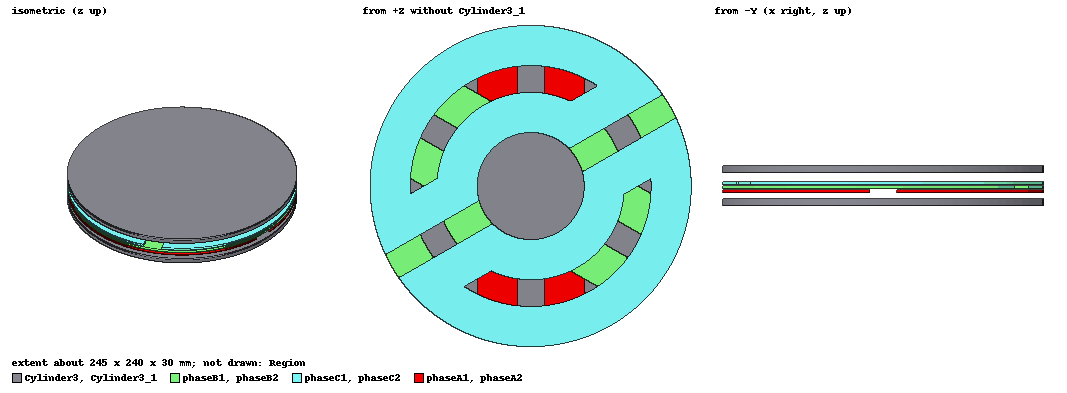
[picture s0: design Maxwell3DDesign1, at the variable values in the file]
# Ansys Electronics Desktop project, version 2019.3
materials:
  vacuum: permittivity=1
  copper: permeability=0.999991 conductivity=58000000
  ferrite: permittivity=12 permeability=1000 conductivity=0.01

design Maxwell3DDesign1 (Maxwell 3D, Transient, model units mm)
options: Multiplier=1
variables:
  r_inner = 40mm
  conductor_height = 2mm
  r_inner_middle = 70mm
  r_outer_middle = 90mm
  r_outer = 120mm
  difference = 10mm
  distance_phase = 3mm
  rotation_angle = 120deg
  magC = -10A
  magA = 20A
  magB = -10A
  A = -10A
  ferrite_distance = -5mm
  ferrite_height = -5mm
  f2f_distance = 25mm
  A1 = 10A*Sin(2*Pi*50*time)
  A2 = -A1
  B1 = 10A*Sin(2*Pi*50*time-2*Pi/3)
  B2 = -B1
  C1 = 10A*Sin(2*Pi*50*time+2*Pi/3)
  C2 = -C1
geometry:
  Cylinder1 = cylinder(axis=Z, base_centre=(0mm, 0mm, 0mm), radius=r_inner, height=conductor_height)
  inner = cylinder(axis=Z, base_centre=(0mm, 0mm, 0mm), radius=r_inner_middle, height=conductor_height)
  inner.subtract(Cylinder1)
  inner.split(plane=YZ, keep=PositiveOnly)
  Cylinder2 = cylinder(axis=Z, base_centre=(0mm, 0mm, 0mm), radius=r_outer_middle, height=conductor_height)
  phaseA1 [copper] = cylinder(axis=Z, base_centre=(0mm, 0mm, 0mm), radius=r_outer, height=conductor_height)
  phaseA1.subtract(Cylinder2)
  phaseA1.split(plane=YZ, keep=PositiveOnly)
  Box1 = box(corner=(difference, -r_outer, 0mm), size=(r_inner_middle-r_inner, 2*r_outer, conductor_height))
  inner_1 = inner.copy()
  outer_1 = phaseA1.copy()
  Box1.subtract(inner_1, outer_1)
  Box1_Separate2, Box1_Separate3 = Box1.separate_bodies()
  Box1.delete()
  Box2 = box(corner=(0mm, -r_outer, 0mm), size=(difference, 2*r_outer, conductor_height))
  Box2_1 = Box2.copy()
  inner.subtract(Box2_1)
  phaseA1.subtract(Box2)
  phaseA1.unite(Box1_Separate2, inner, Box1_Separate3)
  phaseA2 [copper] = phaseA1.duplicate_mirror(point=(0mm, 0mm, 0mm), normal=(-1mm, 0mm, 0mm))
  phaseB1, phaseC1 [copper] = phaseA1.duplicate_along_line(step=(0mm, 0mm, distance_phase), total=3)
  phaseB2, phaseC2 [copper] = phaseA2.duplicate_along_line(step=(0mm, 0mm, distance_phase), total=3)
  coordinate_system RelativeCS1 = origin=(0mm, 0mm, distance_phase) x=(1mm, 0mm, 0mm) y=(0mm, 1mm, 0mm)
  coordinate_system RelativeCS2 = origin=(0mm, 0mm, distance_phase) x=(1mm, 0mm, 0mm) y=(0mm, 1mm, 0mm) in RelativeCS1
  [phaseB2, phaseB1].rotate(axis=Z, angle=-rotation_angle) in RelativeCS1
  [phaseC1, phaseC2].rotate(axis=Z, angle=rotation_angle) in RelativeCS2
  phaseA1_Section1 [copper] = phaseA1.section(plane=ZX)
  phaseA2_Section1 [copper] = phaseA2.section(plane=ZX)
  phaseB2_Section1 [copper] = phaseB2.section(plane=ZX) in RelativeCS1
  phaseB1_Section1 [copper] = phaseB1.section(plane=ZX) in RelativeCS1
  phaseC2_Section1 [copper] = phaseC2.section(plane=ZX) in RelativeCS2
  phaseC1_Section1 [copper] = phaseC1.section(plane=ZX) in RelativeCS2
  Region [vacuum] = region(percentage_offset: +X=200, -X=200, +Y=200, -Y=200, +Z=50, -Z=50) in RelativeCS2
  phaseA1_Section1_Separate1 [copper] = phaseA1_Section1.separate_bodies()
  phaseC1_Section1_Separate1 [copper] = phaseC1_Section1.separate_bodies()
  phaseA2_Section1_Separate1 [copper] = phaseA2_Section1.separate_bodies()
  phaseB2_Section1_Separate1 [copper] = phaseB2_Section1.separate_bodies()
  phaseB1_Section1_Separate1 [copper] = phaseB1_Section1.separate_bodies()
  phaseC2_Section1_Separate1 [copper] = phaseC2_Section1.separate_bodies()
  Cylinder3 [ferrite] = cylinder(axis=Z, base_centre=(0mm, 0mm, ferrite_distance), radius=r_outer, height=ferrite_height)
  Cylinder3_1 [ferrite] = Cylinder3.duplicate_along_line(step=(0mm, 0mm, f2f_distance), total=2)
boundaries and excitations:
  Insulating1: Insulating Objects=[phaseA1, phaseA2, phaseB1, phaseB2, phaseC1, phaseC2]
  CoilTerminal_1: Coil Terminal Objects=phaseA1_Section1 Conductor_number=20 Winding=A1 Point_out_of_terminal=false
  CoilTerminal_2: Coil Terminal Objects=phaseA1_Section1_Separate1 Conductor_number=20 Winding=A1 Point_out_of_terminal=true
  CoilTerminal_3: Coil Terminal Objects=phaseA2_Section1_Separate1 Conductor_number=20 Winding=A2 Point_out_of_terminal=true
  CoilTerminal_4: Coil Terminal Objects=phaseA2_Section1 Conductor_number=20 Winding=A2 Point_out_of_terminal=false
  CoilTerminal_5: Coil Terminal Objects=phaseC1_Section1 Conductor_number=20 Winding=C1 Point_out_of_terminal=true
  CoilTerminal_6: Coil Terminal Objects=phaseC1_Section1_Separate1 Conductor_number=20 Winding=C1 Point_out_of_terminal=false
  CoilTerminal_7: Coil Terminal Objects=phaseB1_Section1_Separate1 Conductor_number=20 Winding=B1 Point_out_of_terminal=false
  CoilTerminal_8: Coil Terminal Objects=phaseB1_Section1 Conductor_number=20 Winding=B1 Point_out_of_terminal=true
  CoilTerminal_9: Coil Terminal Objects=phaseB2_Section1_Separate1 Conductor_number=20 Winding=B2 Point_out_of_terminal=false
  CoilTerminal_10: Coil Terminal Objects=phaseB2_Section1 Conductor_number=20 Winding=B2 Point_out_of_terminal=true
  CoilTerminal_11: Coil Terminal Objects=phaseC2_Section1 Conductor_number=20 Winding=C2 Point_out_of_terminal=true
  CoilTerminal_12: Coil Terminal Objects=phaseC2_Section1_Separate1 Conductor_number=20 Winding=C2 Point_out_of_terminal=false
  A1: Winding Group Type=Current IsSolid=false Current=A1 ParallelBranchesNum=1
  A2: Winding Group Type=Current IsSolid=false Current=A2 ParallelBranchesNum=1
  C1: Winding Group Type=Current IsSolid=false Current=C1 ParallelBranchesNum=1
  B1: Winding Group Type=Current IsSolid=false Current=B1 ParallelBranchesNum=1
  B2: Winding Group Type=Current IsSolid=false Current=B2 ParallelBranchesNum=1
  C2: Winding Group Type=Current IsSolid=false Current=C2 ParallelBranchesNum=1
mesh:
  initial mesh: GlobalCurvilinear{Apply}
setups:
  Setup1: Transient NonlinearSolverResidual=0.005 ScalarPotential="Second Order" StopTime=10ms TimeStep=50us SaveFieldsType="Every N Steps" N_Steps=1 Steps_From=0ns Steps_To=10ms NumberSolveSteps=1 RangeStart=0s RangeEnd=0.1s
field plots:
  Mag_B1: B on Setup1 : Transient at Time=0.00015s
